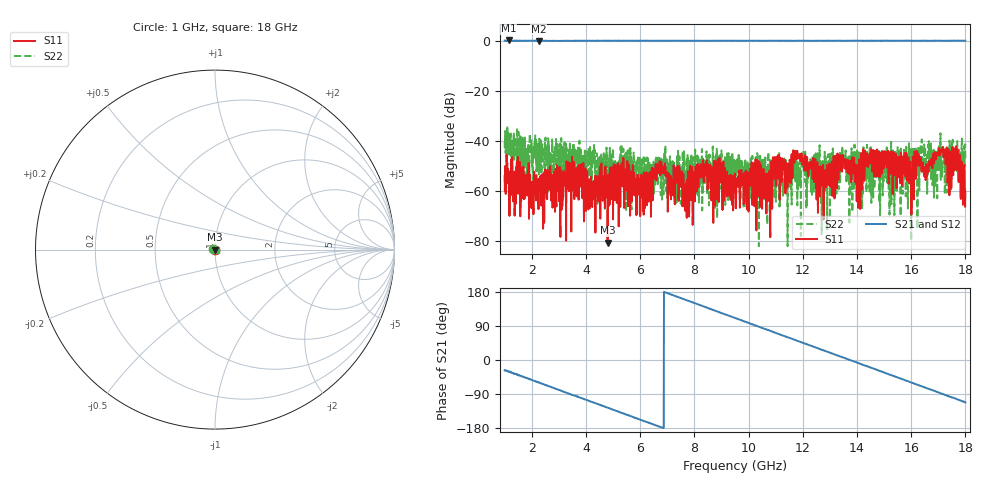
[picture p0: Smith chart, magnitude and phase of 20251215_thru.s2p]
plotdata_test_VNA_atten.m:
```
clear all
close all
clc

data_test_VNA_atten = readtable("20251215_6GHz.csv");
% 1port_cal_filename	2port_cal_filename	atten	corr_gamma_out.gamma_L.angle_rad	corr_gamma_out.gamma_L.imag	corr_gamma_out.gamma_L.mag	corr_gamma_out.gamma_L.real	corr_gamma_out.gamma_S.angle_rad	corr_gamma_out.gamma_S.imag	corr_gamma_out.gamma_S.mag	corr_gamma_out.gamma_S.real	gamma.angle_rad	gamma.mag	idx	point.gamma_deg	point.gamma_mag	s11.imag	s11.real	s11_polar.angle_rad	s11_polar.mag	schema	setup_filename	step	sweep_file	sweep_info.count	test	test_frequency	ts	wave_data.a1.imag	wave_data.a1.real	wave_data.a2.imag	wave_data.a2.real	wave_data.b1.imag	wave_data.b1.real	wave_data.b2.imag	wave_data.b2.real	wave_data.x.type	wave_data.x.x_data

s2p_data = sparameters('20251215_thru.s2p');
thru_phase = angle(s2p_data.Parameters(1,2,:));
thru_mag = abs(s2p_data.Parameters(1,2,:));
frequency = data_test_VNA_atten.test_frequency(1);
freq_idx = find(s2p_data.Frequencies./1e9 == frequency);
freq_phase = thru_phase(freq_idx);
freq_mag = thru_mag(freq_idx);

atten = rmmissing(unique(data_test_VNA_atten.atten));
for atten_idx = 1:length(atten)
    figure
    rf = rowfilter(data_test_VNA_atten);
    data = data_test_VNA_atten(data_test_VNA_atten.atten == atten(atten_idx),:);

    subplot(2,2,1)
    polar(data.corr_gamma_out_gamma_L_angle_rad,data.corr_gamma_out_gamma_L_mag)
    hold on
    polar(data.s11_polar_angle_rad,data.s11_polar_mag)
    polar(data.s11_polar_angle_rad-2*freq_phase,(data.s11_polar_mag*freq_mag))
    polar(deg2rad(data.point_gamma_deg),data.point_gamma_mag)
    
    phase_s11_corr = unwrap(data.corr_gamma_out_gamma_L_angle_rad)-unwrap(data.s11_polar_angle_rad);
    
    subplot(2,2,2)
    plot(unwrap(data.corr_gamma_out_gamma_L_angle_rad)/pi*180)
    hold on
    plot(unwrap(data.s11_polar_angle_rad)/pi*180)
    yyaxis right
    plot(phase_s11_corr/pi*180)
    legend("a2/b2","measured s11 (varied atten)","phase seperation(rad)")
    
    subplot(2,2,3)
    plot(data.corr_gamma_out_gamma_L_mag)
    hold on
    plot(data.s11_polar_mag)
    plot(data.point_gamma_mag)
    legend("a2/b2","set value","measured s11 (varied atten)")

    subplot(2,2,4)
    deltathru = data.corr_gamma_out_gamma_L_mag.*exp(1i*data.corr_gamma_out_gamma_L_angle_rad)...
        -(data.s11_polar_mag*freq_mag).*exp(1i*(data.s11_polar_angle_rad-2*freq_phase));
    plot(10*log10(abs(deltathru)))
    10*log10(rmse(data.corr_gamma_out_gamma_L_mag.*exp(1i*data.corr_gamma_out_gamma_L_angle_rad),...
        data.s11_polar_mag.*exp(1i*(data.s11_polar_angle_rad-2*freq_phase))))
end

freq_phase/pi*180
```
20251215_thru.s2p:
#  HZ  S  DB  R  50.00
! Rohde & Schwarz ZVA40 4Ports - Version 4.11 - 1145.1110k42 SN: 100337
! Date: 2025-12-16 12:52:05
! Measurements: S11 S41 S14 S44
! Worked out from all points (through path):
!   1701 points, 1 GHz to 18 GHz, reference 50 ohm
!   highest |S21| = 0.17 dB at 1.15 GHz (marker M1); lowest = -0.1 dB at 2.26 GHz (marker M2)
!   group delay of S21, straight-line fit = 72.7 ps
!   lowest |S11| = -80.8 dB at 4.8 GHz (marker M3), VSWR 1.00, Z = 50 - j0.00526 ohm
!   |S11| at or under -10 dB: start of sweep to end of sweep
!   |S22| runs from -82.2 to -34.0 dB; largest |S21 - S12| = 0.024
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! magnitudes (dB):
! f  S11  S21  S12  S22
! 1 GHz  -54.1  0.1  0.0  -40.6
! 1.15 GHz  -52.1  0.2  0.0  -44.8
! 2.26 GHz  -55.4  -0.1  0.0  -53.5
! 4.8 GHz  -80.8  0.0  0.0  -58.1
! 6.71 GHz  -49.6  0.0  0.0  -47.1
! 7.64 GHz  -64.0  0.0  0.0  -53.3
! 9.5 GHz  -53.1  0.1  0.0  -52.2
! 11.73 GHz  -44.1  0.0  0.0  -46.5
! 14.05 GHz  -66.9  0.1  0.0  -44.7
! 17.09 GHz  -43.7  0.0  0.0  -55.7
! 18 GHz  -60.4  0.1  0.0  -47.8
